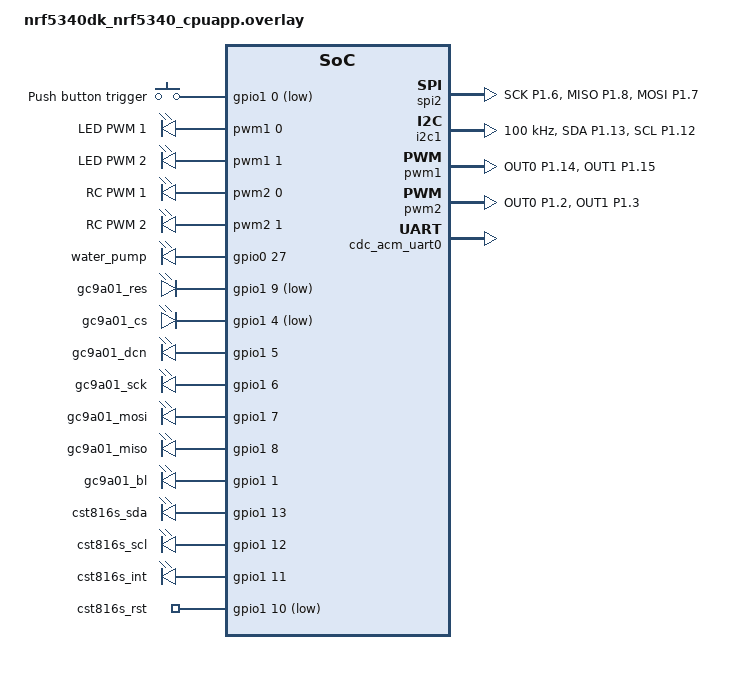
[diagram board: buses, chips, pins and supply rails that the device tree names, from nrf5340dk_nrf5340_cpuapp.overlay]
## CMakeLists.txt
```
cmake_minimum_required(VERSION 3.13.1)

set(BOARD nrf5340dk_nrf5340_cpuapp)

cmake_path(GET CMAKE_CURRENT_LIST_DIR PARENT_PATH FIREFLY_ZEPHYR_APPLICATIONS_DIR)
cmake_path(GET FIREFLY_ZEPHYR_APPLICATIONS_DIR PARENT_PATH FIREFLY_ZEPHYR_DIR)
set(ZEPHYR_EXTRA_MODULES ${FIREFLY_ZEPHYR_DIR})
MESSAGE(STATUS "ZEPHYR_EXTRA_MODULES=${ZEPHYR_EXTRA_MODULES}")

find_package(Zephyr)

project(watch)

set(PM_STATIC_YML_FILE "${CMAKE_CURRENT_SOURCE_DIR}/${CONFIG_BOARD}_pm_debug.yml")
MESSAGE(STATUS "PM_STATIC_YML_FILE=${PM_STATIC_YML_FILE}")

set(CMAKE_BUILD_TYPE Debug)

target_sources(app PRIVATE
    src/fd_watch.c
    src/fd_watch_screen_powering_off.c
    src/fd_watch_screen_splash.c
    src/fd_watch_screen_time.c
    src/main.c
)
```

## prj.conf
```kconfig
CONFIG_REBOOT=n
CONFIG_DEBUG=y
CONFIG_DEBUG_INFO=y
CONFIG_NO_OPTIMIZATIONS=y
CONFIG_DEBUG_THREAD_INFO=y
CONFIG_EXTRA_EXCEPTION_INFO=y
CONFIG_THREAD_NAME=y
CONFIG_MAIN_STACK_SIZE=8192
CONFIG_SYSTEM_WORKQUEUE_STACK_SIZE=8192
CONFIG_IDLE_STACK_SIZE=8192
CONFIG_ISR_STACK_SIZE=8192
CONFIG_TIMESLICE_SIZE=20
CONFIG_HEAP_MEM_POOL_SIZE=8192

CONFIG_FIREFLY_DEBUG=y
CONFIG_FIREFLY_SUBSYS_BASE=y
CONFIG_FIREFLY_SUBSYS_BASE_RTC_NRF5=y
CONFIG_FIREFLY_SUBSYS_GRAPHICS=y
CONFIG_FIREFLY_SUBSYS_GRAPHICS_CST816S=y
CONFIG_FIREFLY_SUBSYS_GRAPHICS_GC9A01=y
CONFIG_FIREFLY_SUBSYS_RPC=y
CONFIG_FIREFLY_SUBSYS_RPC_SERVER_METHOD_LIMIT=50
CONFIG_FIREFLY_SUBSYS_STORAGE=y
CONFIG_FIREFLY_SUBSYS_STORAGE_KEY_VALUE_STORE=y
CONFIG_FIREFLY_SUBSYS_USB=y
CONFIG_FIREFLY_SUBSYS_USB_CDC=y
CONFIG_FIREFLY_SUBSYS_UX=y

CONFIG_FLASH=y
CONFIG_FLASH_PAGE_LAYOUT=y
CONFIG_FLASH_MAP=y
CONFIG_MPU_ALLOW_FLASH_WRITE=y

CONFIG_UART_CONSOLE=n

CONFIG_NANOPB=y
CONFIG_NET_BUF=y
CONFIG_RING_BUFFER=y
CONFIG_UART_INTERRUPT_DRIVEN=y
CONFIG_UART_LINE_CTRL=y
CONFIG_UART_ASYNC_API=y

CONFIG_USB_WORKQUEUE_STACK_SIZE=8192
CONFIG_USB_NRFX_WORK_QUEUE_STACK_SIZE=8192
CONFIG_USB_DEVICE_STACK=y
CONFIG_USB_DEVICE_PRODUCT="Firefly Device"
CONFIG_USB_DEVICE_SN="01234567"
CONFIG_USB_DEVICE_INITIALIZE_AT_BOOT=n
```

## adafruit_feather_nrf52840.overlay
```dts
/ {
	chosen {
        firefly,spi_display_bl=&gc9a01_bl;
        firefly,spi_display_res=&gc9a01_res;
        firefly,spi_display_cs=&gc9a01_cs;
        firefly,spi_display_dcn=&gc9a01_dcn;
        firefly,spi_display_sck=&gc9a01_sck;
        firefly,spi_display_mosi=&gc9a01_mosi;
        firefly,spi_display_miso=&gc9a01_miso;

        firefly_cst816s_i2c=&i2c1;
        firefly,cst816s_sda=&cst816s_sda;
        firefly,cst816s_scl=&cst816s_scl;
        firefly,cst816s_int=&cst816s_int;
        firefly,cst816s_rst=&cst816s_rst;
    };

    outputs {
        compatible = "gpio-leds";

        gc9a01_bl: gc9a01_bl {
            gpios = <&gpio0 5 GPIO_ACTIVE_HIGH>;
        };
        gc9a01_res: gc9a01_res {
            gpios = <&gpio0 28 GPIO_ACTIVE_LOW>;
        };
        gc9a01_dcn: gc9a01_dcn {
            gpios = <&gpio0 4 GPIO_ACTIVE_HIGH>;
        };
        gc9a01_cs: gc9a01_cs {
            gpios = <&gpio0 30 GPIO_ACTIVE_LOW>;
        };
        
        gc9a01_sck: gc9a01_sck {
            gpios = <&gpio0 14 GPIO_ACTIVE_HIGH>;
        };
        gc9a01_mosi: gc9a01_mosi {
            gpios = <&gpio0 13 GPIO_ACTIVE_HIGH>;
        };
        gc9a01_miso: gc9a01_miso {
            gpios = <&gpio0 15 GPIO_ACTIVE_HIGH>;
        };
        

        
        cst816s_sda: cst816s_sda {
            gpios = <&gpio0 24 GPIO_ACTIVE_HIGH>;
        };
        cst816s_scl: cst816s_scl {
            gpios = <&gpio0 25 GPIO_ACTIVE_HIGH>;
        };
        
        cst816s_int: cst816s_int {
            gpios = <&gpio0 2 GPIO_ACTIVE_HIGH>;
        };
        cst816s_rst: cst816s_rst {
            gpios = <&gpio0 3 GPIO_ACTIVE_LOW>;
        };
    };

};

&gpio0 {
	status = "okay";
	label = "GPIO_0";
};

&gpio1 {
	status = "okay";
	label = "GPIO_1";
};

&uart0 {
	status = "disabled";
};

&spi1 {
	status = "disabled";
};

&spi2 {
	compatible = "nordic,nrf-spim";
	status = "okay";
	pinctrl-0 = <&spi2_default>;
	pinctrl-1 = <&spi2_sleep>;
	pinctrl-names = "default", "sleep";
};

&i2c1 {
	compatible = "nordic,nrf-twim";
	status = "okay";
	pinctrl-0 = <&i2c1_default>;
	pinctrl-1 = <&i2c1_sleep>;
	pinctrl-names = "default", "sleep";
	clock-frequency = <I2C_BITRATE_STANDARD>;
};

&pinctrl {
    spi2_default: spi2_default {
		group1 {
			psels = <NRF_PSEL(SPIM_SCK, 0, 14)>,
				<NRF_PSEL(SPIM_MISO, 0, 15)>,
				<NRF_PSEL(SPIM_MOSI, 0, 13)>;
		};
	};

	spi2_sleep: spi2_sleep {
		group1 {
			psels = <NRF_PSEL(SPIM_SCK, 0, 14)>,
				<NRF_PSEL(SPIM_MISO, 0, 15)>,
				<NRF_PSEL(SPIM_MOSI, 0, 13)>;
			low-power-enable;
		};
	};

	i2c1_default: i2c1_default {
		group1 {
			psels = <NRF_PSEL(TWIM_SDA, 0, 24)>,
				<NRF_PSEL(TWIM_SCL, 0, 25)>;
            bias-pull-up;
		};
	};

	i2c1_sleep: i2c1_sleep {
		group1 {
			psels = <NRF_PSEL(TWIM_SDA, 0, 24)>,
				<NRF_PSEL(TWIM_SCL, 0, 25)>;
            bias-pull-up;
			low-power-enable;
		};
	};
};

&cryptocell {
    status = "disabled";
};

&zephyr_udc0 {
	cdc_acm_uart0 {
		compatible = "zephyr,cdc-acm-uart";
		label = "CDC_ACM_0";
	};
};

/delete-node/ &storage_partition;

&flash0 {

	partitions {
		compatible = "fixed-partitions";
		#address-cells = <1>;
		#size-cells = <1>;

		boot_partition: partition@0 {
			label = "mcuboot";
			reg = <0x00000000 0x0000C000>;
		};
		slot0_partition: partition@c000 {
			label = "image-0";
			reg = <0x0000C000 0x00067000>;
		};
		slot1_partition: partition@73000 {
			label = "image-1";
			reg = <0x00073000 0x00067000>;
		};
		scratch_partition: partition@da000 {
			label = "image-scratch";
			reg = <0x000da000 0x0001e000>;
		};

		/*
		 * The flash starting at 0x000f8000 and ending at
		 * 0x000fffff is reserved for use by the application.
		 */

		/* Storage partition will be used by FCB/NFFS/NVS if enabled. */
		persist_partition: partition@f8000 {
			label = "persist";
			reg = <0x000f8000 0x00008000>;
		};
	};
};
```

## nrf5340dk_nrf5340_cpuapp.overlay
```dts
/ {
	chosen {
        firefly,trigger=&button_trigger;
        firefly,rc_led_eyes_blue=&led_pwm_1;
        firefly,rc_led_eyes_red=&led_pwm_2;
        firefly,rc_pwm_eyes=&rc_pwm_1;
        firefly,rc_pwm_jaw=&rc_pwm_2;
        firefly,water_pump=&water_pump;

        firefly,spi_display_bl=&gc9a01_bl;
        firefly,spi_display_res=&gc9a01_res;
        firefly,spi_display_cs=&gc9a01_cs;
        firefly,spi_display_dcn=&gc9a01_dcn;
        firefly,spi_display_sck=&gc9a01_sck;
        firefly,spi_display_mosi=&gc9a01_mosi;
        firefly,spi_display_miso=&gc9a01_miso;

        firefly_cst816s_i2c=&i2c1;
        firefly,cst816s_sda=&cst816s_sda;
        firefly,cst816s_scl=&cst816s_scl;
        firefly,cst816s_int=&cst816s_int;
        firefly,cst816s_rst=&cst816s_rst;
    };

    buttons {
		compatible = "gpio-keys";
        
		button_trigger: button_trigger {
			gpios = <&gpio1 0 (GPIO_ACTIVE_LOW | GPIO_PULL_UP)>;
			label = "Push button trigger";
		};
    };

    pwm_leds {
        compatible = "pwm-leds";

        led_pwm_1: led_pwm_1 {
            pwms = <&pwm1 0 PWM_MSEC(20) PWM_POLARITY_NORMAL>;
            label = "LED PWM 1";
        };
        led_pwm_2: led_pwm_2 {
            pwms = <&pwm1 1 PWM_MSEC(20) PWM_POLARITY_NORMAL>;
            label = "LED PWM 2";
        };

        rc_pwm_1: rc_pwm_1 {
            pwms = <&pwm2 0 PWM_MSEC(20) PWM_POLARITY_NORMAL>;
            label = "RC PWM 1";
        };
        rc_pwm_2: rc_pwm_2 {
            pwms = <&pwm2 1 PWM_MSEC(20) PWM_POLARITY_NORMAL>;
            label = "RC PWM 2";
        };
    };
    
    outputs {
        compatible = "gpio-leds";

        water_pump: water_pump {
            gpios = <&gpio0 27 GPIO_ACTIVE_HIGH>;
        };

        gc9a01_res: gc9a01_res {
            gpios = <&gpio1 9 GPIO_ACTIVE_LOW>;
        };
        gc9a01_cs: gc9a01_cs {
            gpios = <&gpio1 4 GPIO_ACTIVE_LOW>;
        };
        gc9a01_dcn: gc9a01_dcn {
            gpios = <&gpio1 5 GPIO_ACTIVE_HIGH>;
        };
        gc9a01_sck: gc9a01_sck {
            gpios = <&gpio1 6 GPIO_ACTIVE_HIGH>;
        };
        gc9a01_mosi: gc9a01_mosi {
            gpios = <&gpio1 7 GPIO_ACTIVE_HIGH>;
        };
        gc9a01_miso: gc9a01_miso {
            gpios = <&gpio1 8 GPIO_ACTIVE_HIGH>;
        };
        gc9a01_bl: gc9a01_bl {
            gpios = <&gpio1 1 GPIO_ACTIVE_HIGH>;
        };

        cst816s_sda: cst816s_sda {
            gpios = <&gpio1 13 GPIO_ACTIVE_HIGH>;
        };
        cst816s_scl: cst816s_scl {
            gpios = <&gpio1 12 GPIO_ACTIVE_HIGH>;
        };
        
        cst816s_int: cst816s_int {
            gpios = <&gpio1 11 GPIO_ACTIVE_HIGH>;
        };
        cst816s_rst: cst816s_rst {
            gpios = <&gpio1 10 GPIO_ACTIVE_LOW>;
        };
    };

};

&gpio0 {
	status = "okay";
	label = "GPIO_0";
};

&gpio1 {
	status = "okay";
	label = "GPIO_1";
};

&pinctrl {
    spi2_default: spi2_default {
		group1 {
			psels = <NRF_PSEL(SPIM_SCK, 1, 6)>, <NRF_PSEL(SPIM_MISO, 1, 8)>, <NRF_PSEL(SPIM_MOSI, 1, 7)>;
		};
	};

	spi2_sleep: spi2_sleep {
		group1 {
			psels = <NRF_PSEL(SPIM_SCK, 1, 6)>, <NRF_PSEL(SPIM_MISO, 1, 8)>, <NRF_PSEL(SPIM_MOSI, 1, 7)>;
			low-power-enable;
		};
	};

	i2c1_default: i2c1_default {
		group1 {
			psels = <NRF_PSEL(TWIM_SDA, 1, 13)>, <NRF_PSEL(TWIM_SCL, 1, 12)>;
            bias-pull-up;
		};
	};

	i2c1_sleep: i2c1_sleep {
		group1 {
			psels = <NRF_PSEL(TWIM_SDA, 1, 13)>, <NRF_PSEL(TWIM_SCL, 01, 12)>;
            bias-pull-up;
			low-power-enable;
		};
	};
};

&spi2 {
	compatible = "nordic,nrf-spim";
	status = "okay";
	pinctrl-0 = <&spi2_default>;
	pinctrl-1 = <&spi2_sleep>;
	pinctrl-names = "default", "sleep";
};

&i2c1 {
	compatible = "nordic,nrf-twim";
	status = "okay";
	pinctrl-0 = <&i2c1_default>;
	pinctrl-1 = <&i2c1_sleep>;
	pinctrl-names = "default", "sleep";
	clock-frequency = <I2C_BITRATE_STANDARD>;
};

&pinctrl {

    pwm1_led_default: pwm1_led_default {
		group1 {
			psels = <NRF_PSEL(PWM_OUT0, 1, 14)>, <NRF_PSEL(PWM_OUT1, 1, 15)>;
		};
	};

	pwm1_led_sleep: pwm1_led_sleep {
		group1 {
			psels = <NRF_PSEL(PWM_OUT0, 1, 14)>, <NRF_PSEL(PWM_OUT1, 1, 15)>;
		};
	};

    pwm2_esc_default: pwm2_esc_default {
		group1 {
			psels = <NRF_PSEL(PWM_OUT0, 1, 2)>, <NRF_PSEL(PWM_OUT1, 1, 3)>;
		};
	};

	pwm2_esc_sleep: pwm2_esc_sleep {
		group1 {
			psels = <NRF_PSEL(PWM_OUT0, 1, 2)>, <NRF_PSEL(PWM_OUT1, 1, 3)>;
		};
	};

};

&pwm1 {
	status = "okay";
	pinctrl-0 = <&pwm1_led_default>;
	pinctrl-1 = <&pwm1_led_sleep>;
	pinctrl-names = "default", "sleep";
};

&pwm2 {
	status = "okay";
	pinctrl-0 = <&pwm2_esc_default>;
	pinctrl-1 = <&pwm2_esc_sleep>;
	pinctrl-names = "default", "sleep";
};


&zephyr_udc0 {
	cdc_acm_uart0 {
		compatible = "zephyr,cdc-acm-uart";
		label = "CDC_ACM_0";
	};
};

/delete-node/ &slot0_partition;

&flash0 {

	partitions {
		compatible = "fixed-partitions";
		#address-cells = <1>;
		#size-cells = <1>;

        // 1 MB Available
        //
        // 256 KB for boot loader
		boot_partition: partition@0 {
			label = "mcuboot";
			reg = <0x00000000 0x00040000>;
		};
        // 752 KB for application
        slot0_partition: partition@40000 {
            label = "image-0";
            reg = <0x040000 0x00bc000>;
        };
        // 4 KB for manufacturing configuration (one 4 KB pages)
        configuration_partition: partition@fc000 {
            label = "configuration";
            reg = <0x000fc000 0x00001000>;
        };
        // 12 KB for application key / value dictionary (three 4 KB pages)
        persist_partition: partition@fd000 {
            label = "persist";
            reg = <0x000fd000 0x00003000>;
        };
	};
};
```

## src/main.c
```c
#include "fd_watch.h"

#include <zephyr/arch/cpu.h>
#include <zephyr/kernel.h>
#include <zephyr/types.h>
#include <zephyr/sys/printk.h>
#include <zephyr/sys/byteorder.h>
#include <zephyr/sys/reboot.h>

static const char *get_context_name(const z_arch_esf_t *esf) {
    if ((esf->basic.xpsr & IPSR_ISR_Msk) != 0) {
        return "MAIN/ISR";
    } else {
        struct k_thread *thread = k_current_get();
        if (thread != 0) {
            const char *thread_name = k_thread_name_get(thread);
            if (thread_name != 0) {
                return thread_name;
            }
            return "Anonymous Thread";
        }
    }
    return "Unknown Context";
}

static const char *get_reason_name(unsigned int reason) {
	switch (reason) {
        case K_ERR_CPU_EXCEPTION:
            return "CPU Exception";
        case K_ERR_SPURIOUS_IRQ:
            return "Unhandled Interrupt";
        case K_ERR_STACK_CHK_FAIL:
            return "Stack Overflow";
        case K_ERR_KERNEL_OOPS:
            return "Kernel Oops";
        case K_ERR_KERNEL_PANIC:
            return "Kernel Panic";
        default:
            return "Unknown Error";
	}
}

void k_sys_fatal_error_handler(unsigned int reason, const z_arch_esf_t *esf) {
    const char *context_name __attribute__((unused)) = get_context_name(esf);
    const char *reason_name __attribute__((unused)) = get_reason_name(reason);

#ifdef CONFIG_REBOOT
    sys_reboot(SYS_REBOOT_COLD);
#else
    // loop here so debugger can attach and break -denis
    while (true) {
    }
#endif
}

int main(void) {
    fd_watch_initialize();
    return 0;
}
```

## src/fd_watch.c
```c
#include "fd_watch.h"

#include "fd_watch_screen_powering_off.h"
#include "fd_watch_screen_splash.h"
#include "fd_watch_screen_time.h"

#include "fd_assert.h"
#include "fd_cst816s.h"
#include "fd_event.h"
#include "fd_font_b612_regular_12.h"
#include "fd_gc9a01.h"
#include "fd_gpio.h"
#include "fd_graphics_color_8bit.h"
#include "fd_rpc.h"
#include "fd_rpc_channel_usb.h"
#include "fd_rpc_server_rtc.h"
#include "fd_rpc_server_ux.h"
#include "fd_rtc.h"
#include "fd_timer.h"
#include "fd_unused.h"
#include "fd_ux.h"
#include "fd_ux_button.h"

#include <zephyr/drivers/gpio.h>

#define fd_watch_display_width 240
#define fd_watch_display_height 240

typedef struct {
    fd_graphics_t graphics;
    fd_graphics_color_8bit_t color_8bit;
    uint8_t frame_buffer[fd_graphics_color_8bit_frame_buffer_size(fd_watch_display_width, fd_watch_display_height)];

    struct k_work tick_work;
    struct k_timer tick_timer;

    fd_ux_t ux;
    fd_ux_button_t ux_button;
} fd_watch_t;

fd_watch_t fd_watch;

void fd_watch_graphics_update(fd_graphics_t *graphics fd_unused, fd_graphics_area_t area) {
    fd_gc9a01_write_image_start(area.x, area.y, area.width, area.height);
    for (int y = 0; y < area.height; ++y) {
        uint8_t *data = &fd_watch.frame_buffer[((area.y + y) * fd_watch_display_width + area.x) * 3];
        fd_gc9a01_write_image_subdata(data, area.width * 3);
    }
    fd_gc9a01_write_image_end();
}

void fd_watch_graphics_display_on(fd_graphics_t *graphics fd_unused) {
    fd_gc9a01_display_on();
}

void fd_watch_graphics_display_off(fd_graphics_t *graphics fd_unused) {
    fd_gc9a01_display_off();
}

void fd_watch_display_on(void) {
    fd_graphics_display_on(&fd_watch.graphics);
}

void fd_watch_display_off(void) {
    fd_graphics_display_off(&fd_watch.graphics);
}

void fd_watch_display_initialize(void) {
    struct gpio_dt_spec bl = (struct gpio_dt_spec)GPIO_DT_SPEC_GET(DT_CHOSEN(firefly_spi_display_bl), gpios);
    int result = gpio_pin_configure_dt(&bl, GPIO_OUTPUT_ACTIVE);
    fd_assert(result == 0);

    fd_graphics_t *graphics = &fd_watch.graphics;
    fd_graphics_color_8bit_initialize(
        &fd_watch.color_8bit,
        fd_watch.frame_buffer,
        sizeof(fd_watch.frame_buffer),
        graphics,
        fd_watch_display_width,
        fd_watch_display_height
    );
    fd_gc9a01_initialize();
    fd_watch.graphics.backend.update = fd_watch_graphics_update;
    fd_watch.graphics.backend.display_on = fd_watch_graphics_display_on;
    fd_watch.graphics.backend.display_off = fd_watch_graphics_display_off;

    fd_graphics_area_t area = { .x = 0, .y = 0, .width = graphics->width, .height = graphics->height };
    fd_graphics_write_background(graphics);
    fd_graphics_update(graphics, area);

    fd_graphics_set_font(graphics, &fd_font_b612_regular_12);
    fd_graphics_set_foreground(graphics, (fd_graphics_color_t) { .argb=0xff00ff00 });
    fd_graphics_write_string(graphics, 40, 18, "Watch");
    fd_graphics_set_font(graphics, &fd_font_b612_regular_12);
    fd_graphics_set_foreground(graphics, (fd_graphics_color_t) { .argb=0xffff0000 });
    fd_graphics_write_string(graphics, 60, 32, "12:00:00");
    fd_graphics_update(graphics, area);
}

void fd_watch_rpc_initialize(void) {
    fd_rpc_initialize();
    fd_rpc_server_rtc_initialize();

    const fd_rpc_channel_usb_configuration_t usb_configuration = {
        .work_queue = &k_sys_work_q,
    };
    fd_rpc_channel_usb_initialize(&usb_configuration);

    const fd_rpc_server_ux_configuration_t ux_configuration = {
        .work_queue = &k_sys_work_q,
    };
    fd_rpc_server_ux_initialize(&ux_configuration);
}

void fd_watch_power_on(void) {
}

void fd_watch_power_off(void) {
}

void fd_watch_tick_work(struct k_work *work fd_unused) {
    fd_timer_update(0.020f);
    fd_ux_tick();
}

void fd_watch_tick_timer_irq(struct k_timer *timer fd_unused) {
    k_work_submit_to_queue(&k_sys_work_q, &fd_watch.tick_work);
}

void fd_watch_initialize(void) {
    fd_gpio_initialize();
    fd_event_initialize();
    fd_rtc_initialize();
    fd_timer_initialize();

    fd_watch_display_initialize();
    
    static fd_ux_screen_t screens[fd_watch_screen_id_count] = {
    };
    fd_watch_screen_splash_initialize(&screens[fd_watch_screen_id_splash]);
    fd_watch_screen_time_initialize(&screens[fd_watch_screen_id_time]);
    fd_watch_screen_powering_off_initialize(&screens[fd_watch_screen_id_powering_off]);
    static fd_ux_configuration_t ux_configuration;
    ux_configuration = (fd_ux_configuration_t) {
        .graphics = &fd_watch.graphics,
        .screens = screens,
        .screen_count = sizeof(screens) / sizeof(screens[0]),
    };
    fd_ux_initialize(&fd_watch.ux, &ux_configuration);

    static fd_gpio_t button_gpios[] = {
        { .port = 0, .pin = 9 },
        { .port = 1, .pin = 10 },
    };
    static fd_ux_button_configuration_t button_configuration = {
        .ux = &fd_watch.ux,
        .gpios = button_gpios,
        .count = sizeof(button_gpios) / sizeof(button_gpios[0]),
    };
    fd_ux_button_initialize(&fd_watch.ux_button, &button_configuration);

    fd_watch_rpc_initialize();

    k_work_init(&fd_watch.tick_work, fd_watch_tick_work);
    k_timer_init(&fd_watch.tick_timer, fd_watch_tick_timer_irq, NULL);
    k_timer_start(&fd_watch.tick_timer, K_SECONDS(1), K_MSEC(20));

#if 1
    while (true) {
        k_sleep(K_SECONDS(1));
    }
#endif
}
```

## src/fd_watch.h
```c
#ifndef fd_watch_h
#define fd_watch_h

#define fd_watch_button_left  (1 << 0)
#define fd_watch_button_right (1 << 1)
#define fd_watch_button_both (fd_watch_button_left | fd_watch_button_right)

typedef enum {
    fd_watch_screen_id_splash,
    fd_watch_screen_id_time,
    fd_watch_screen_id_powering_off,
    fd_watch_screen_id_count
} fd_watch_screen_id_t;

void fd_watch_initialize(void);

void fd_watch_power_on(void);
void fd_watch_power_off(void);

#endif
```

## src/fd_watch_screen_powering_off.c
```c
#define _GNU_SOURCE

#include "fd_watch_screen_powering_off.h"

#include "fd_watch.h"

#include "fd_drawing_image.h"
#include "fd_drawing_text.h"
#include "fd_font_b612_regular_6.h"

#include "fd_assert.h"
#include "fd_unused.h"

#include <stdio.h>
#include <string.h>

typedef struct {
    fd_drawing_text_t text;
    fd_drawing_text_t countdown;
    fd_drawing_t drawings[2];
    fd_drawing_plane_t plane;
    
    char countdown_buffer[16];
    uint32_t ticks;
} fd_watch_screen_powering_off_t;

fd_watch_screen_powering_off_t fd_watch_screen_powering_off;

void fd_watch_screen_powering_off_add_drawing(void *object, fd_drawing_class_t *class) {
    const size_t size = sizeof(fd_watch_screen_powering_off.drawings) /  sizeof(fd_watch_screen_powering_off.drawings[0]);
    if (fd_watch_screen_powering_off.plane.drawing_count >= size) {
        fd_assert_fail("too many drawings");
        return;
    }
    fd_watch_screen_powering_off.drawings[fd_watch_screen_powering_off.plane.drawing_count] = (fd_drawing_t) { .object = object, .class =  class };
    ++fd_watch_screen_powering_off.plane.drawing_count;
}

bool fd_watch_screen_powering_off_animate(void) {
    if (fd_watch_screen_powering_off.ticks++ < (5 * 50)) {
        uint32_t countdown = 5 - fd_watch_screen_powering_off.ticks / 50;
        char buffer[16];
        snprintf(buffer, sizeof(buffer), "%u", countdown);
        fd_view_string_update(&fd_watch_screen_powering_off.countdown.view.string, buffer);
    } else {
        fd_watch_power_off();
    }

    return false;
}

void fd_watch_screen_powering_off_preview(void) {
}

void fd_watch_screen_powering_off_activate(void) {
    fd_watch_screen_powering_off.ticks = 0;
}

void fd_watch_screen_powering_off_deactivate(void) {
}

bool fd_watch_screen_powering_off_button(const fd_button_event_t *event) {
    if (fd_button_was_pressed(event, fd_watch_button_both)) {
        fd_ux_t *ux = fd_ux_get(0);
        fd_ux_set_screen(ux, fd_watch_screen_id_time);
    }
    return false;
}

void fd_watch_screen_powering_off_initialize(fd_ux_screen_t *screen) {
    memset(&fd_watch_screen_powering_off, 0, sizeof(fd_watch_screen_powering_off));
    
    fd_drawing_plane_t *plane = &fd_watch_screen_powering_off.plane;
    plane->drawings = fd_watch_screen_powering_off.drawings;
    screen->planes[0] = plane;
    screen->plane_count = 1;
    screen->preview = fd_watch_screen_powering_off_preview;
    screen->activate = fd_watch_screen_powering_off_activate;
    screen->deactivate = fd_watch_screen_powering_off_deactivate;
    screen->button = fd_watch_screen_powering_off_button;
    screen->animate = fd_watch_screen_powering_off_animate;
    
    fd_watch_screen_powering_off.text.view = (fd_view_text_t) {
        .visible = true,
        .location = { .x = 48, .y = 32 },
        .alignments = { .x = fd_view_alignment_center, .y = fd_view_alignment_center },
        .string = { .string = "Powering Off", .length = 12 },
        .font.font = &fd_font_b612_regular_6,
        .color = { .argb = 0xffffffff },
    };
    fd_watch_screen_powering_off_add_drawing(&fd_watch_screen_powering_off.text, &fd_drawing_text_class);
    
    strlcpy(fd_watch_screen_powering_off.countdown_buffer, "5", sizeof(fd_watch_screen_powering_off.countdown_buffer));
    fd_watch_screen_powering_off.countdown.view = (fd_view_text_t) {
        .visible = true,
        .location = { .x = 48, .y = 48 },
        .alignments = { .x = fd_view_alignment_center, .y = fd_view_alignment_center },
        .string = { .string = fd_watch_screen_powering_off.countdown_buffer, .length = 1 },
        .font.font = &fd_font_b612_regular_6,
        .color = { .argb = 0xffffffff },
    };
    fd_watch_screen_powering_off_add_drawing(&fd_watch_screen_powering_off.countdown, &fd_drawing_text_class);
}
```

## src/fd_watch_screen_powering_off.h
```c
#ifndef fd_watch_screen_powering_off_h
#define fd_watch_screen_powering_off_h

#include "fd_ux.h"

void fd_watch_screen_powering_off_initialize(fd_ux_screen_t *screen);

#endif
```

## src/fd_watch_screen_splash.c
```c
#include "fd_watch_screen_splash.h"

#include "fd_watch.h"

#include "fd_drawing_image.h"
#include "fd_drawing_text.h"
#include "fd_font_b612_regular_6.h"

#include "fd_assert.h"
#include "fd_unused.h"

#include <string.h>

typedef struct {
    fd_drawing_text_t text;
    fd_drawing_image_t image;
    fd_drawing_t drawings[2];
    fd_drawing_plane_t plane;
    
    uint32_t ticks;
} fd_watch_screen_splash_t;

fd_watch_screen_splash_t fd_watch_screen_splash;

void fd_watch_screen_splash_add_drawing(void *object, fd_drawing_class_t *class) {
    const size_t size = sizeof(fd_watch_screen_splash.drawings) /  sizeof(fd_watch_screen_splash.drawings[0]);
    if (fd_watch_screen_splash.plane.drawing_count >= size) {
        fd_assert_fail("too many drawings");
        return;
    }
    fd_watch_screen_splash.drawings[fd_watch_screen_splash.plane.drawing_count] = (fd_drawing_t) { .object = object, .class =  class };
    ++fd_watch_screen_splash.plane.drawing_count;
}

bool fd_watch_screen_splash_animate(void) {
    if (fd_watch_screen_splash.ticks++ > 2 * 50) {
        fd_ux_t *ux = fd_ux_get(0);
        fd_ux_set_screen(ux, fd_watch_screen_id_time);
    }
    return false;
}

void fd_watch_screen_splash_preview(void) {
}

void fd_watch_screen_splash_activate(void) {
    fd_watch_screen_splash.ticks = 0;
}

void fd_watch_screen_splash_deactivate(void) {
}

bool fd_watch_screen_splash_button(const fd_button_event_t *event) {
    if (fd_button_was_pressed(event, fd_watch_button_both)) {
        fd_ux_t *ux = fd_ux_get(0);
        fd_ux_set_screen(ux, fd_watch_screen_id_time);
    }
    return false;
}

void fd_watch_screen_splash_initialize(fd_ux_screen_t *screen) {
    memset(&fd_watch_screen_splash, 0, sizeof(fd_watch_screen_splash));
    
    fd_drawing_plane_t *plane = &fd_watch_screen_splash.plane;
    plane->drawings = fd_watch_screen_splash.drawings;
    screen->planes[0] = plane;
    screen->plane_count = 1;
    screen->preview = fd_watch_screen_splash_preview;
    screen->activate = fd_watch_screen_splash_activate;
    screen->deactivate = fd_watch_screen_splash_deactivate;
    screen->button = fd_watch_screen_splash_button;
    screen->animate = fd_watch_screen_splash_animate;
    
    fd_watch_screen_splash.text.view = (fd_view_text_t) {
        .visible = true,
        .location = { .x = 48, .y = 32 },
        .alignments = { .x = fd_view_alignment_center, .y = fd_view_alignment_center },
        .string = { .string = "Hello", .length = 5 },
        .font.font = &fd_font_b612_regular_6,
        .color = { .argb = 0xffffffff },
    };
    fd_watch_screen_splash_add_drawing(&fd_watch_screen_splash.text, &fd_drawing_text_class);
    
#if 0
    fd_watch_screen_splash.image.view = (fd_view_image_t) {
        .visible = true,
        .location = { .x = 64, .y = 96 },
        .alignments = { .x = fd_view_alignment_center, .y = fd_view_alignment_center },
        .image = { .image = &fd_image_splash },
    };
    fd_watch_screen_splash_add_drawing(&fd_watch_screen_splash.image, &fd_drawing_image_class);
#endif
}
```

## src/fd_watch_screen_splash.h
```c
#ifndef fd_watch_screen_splash_h
#define fd_watch_screen_splash_h

#include "fd_ux.h"

void fd_watch_screen_splash_initialize(fd_ux_screen_t *screen);

#endif
```

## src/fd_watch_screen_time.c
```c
#include "fd_watch_screen_time.h"

#include "fd_watch.h"

#include "fd_drawing_text.h"
#include "fd_font_b612_regular_6.h"

#include "fd_assert.h"
#include "fd_calendar.h"
#include "fd_rtc.h"
#include "fd_unused.h"

#include <stdio.h>
#include <string.h>

typedef struct {
    fd_drawing_text_t text;
    fd_drawing_t drawings[1];
    fd_drawing_plane_t plane;
    char time_string[16];
} fd_watch_screen_time_t;

fd_watch_screen_time_t fd_watch_screen_time;

void fd_watch_screen_time_add_drawing(void *object, fd_drawing_class_t *class) {
    const size_t size = sizeof(fd_watch_screen_time.drawings) /  sizeof(fd_watch_screen_time.drawings[0]);
    if (fd_watch_screen_time.plane.drawing_count >= size) {
        fd_assert_fail("too many drawings");
        return;
    }
    fd_watch_screen_time.drawings[fd_watch_screen_time.plane.drawing_count] = (fd_drawing_t) { .object = object, .class =  class };
    ++fd_watch_screen_time.plane.drawing_count;
}

#define UTC_2001 978307200

void fd_watch_screen_time_update(void) {
    fd_rtc_configuration_t configuration;
    fd_rtc_get_configuration(&configuration);
    int32_t utc_offset = configuration.time_zone_offset;
    bool is_12_hour = configuration.display_format == fd_rtc_display_format_use_12_hour_clock;

    int64_t utc = fd_rtc_get_utc();
    fd_calendar_t calendar = fd_calendar_from_time((utc < UTC_2001) ? utc : (utc - utc_offset));
    fd_calendar_12_hour_t clock_12_hour = fd_calendar_get_12_hour(&calendar);
    char buffer[16];
    if (is_12_hour) {
        snprintf(buffer, sizeof(buffer), "%u:%02u:%02u %cm", clock_12_hour.hour, calendar.min, calendar.sec, clock_12_hour.meridiem);
    } else {
        snprintf(buffer, sizeof(buffer), "%02u:%02u:%02u", calendar.hour, calendar.min, calendar.sec);
    }
    fd_view_string_update(&fd_watch_screen_time.text.view.string, buffer);
}

bool fd_watch_screen_time_animate(void) {
    fd_watch_screen_time_update();
    return false;
}

void fd_watch_screen_time_preview(void) {
}

void fd_watch_screen_time_activate(void) {
}

void fd_watch_screen_time_deactivate(void) {
}

bool fd_watch_screen_time_button(const fd_button_event_t *event) {
    if (fd_button_was_pressed(event, fd_watch_button_left)) {
        fd_ux_t *ux = fd_ux_get(0);
        fd_ux_set_screen(ux, fd_watch_screen_id_splash);
    }
    return false;
}

void fd_watch_screen_time_initialize(fd_ux_screen_t *screen) {
    memset(&fd_watch_screen_time, 0, sizeof(fd_watch_screen_time));
    
    fd_drawing_plane_t *plane = &fd_watch_screen_time.plane;
    plane->drawings = fd_watch_screen_time.drawings;
    screen->planes[0] = plane;
    screen->plane_count = 1;
    screen->preview = fd_watch_screen_time_preview;
    screen->activate = fd_watch_screen_time_activate;
    screen->deactivate = fd_watch_screen_time_deactivate;
    screen->button = fd_watch_screen_time_button;
    screen->animate = fd_watch_screen_time_animate;
    
    fd_watch_screen_time.text.view = (fd_view_text_t) {
        .visible = true,
        .location = { .x = 48, .y = 32 },
        .alignments = { .x = fd_view_alignment_center, .y = fd_view_alignment_center },
        .string = { .string = fd_watch_screen_time.time_string, .size = sizeof(fd_watch_screen_time.time_string) },
        .font.font = &fd_font_b612_regular_6,
        .color = { .argb = 0xffffffff },
    };
    fd_watch_screen_time_add_drawing(&fd_watch_screen_time.text, &fd_drawing_text_class);
    
    fd_watch_screen_time_update();
}
```

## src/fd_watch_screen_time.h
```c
#ifndef fd_watch_screen_time_h
#define fd_watch_screen_time_h

#include "fd_ux.h"

void fd_watch_screen_time_initialize(fd_ux_screen_t *screen);

#endif
```
